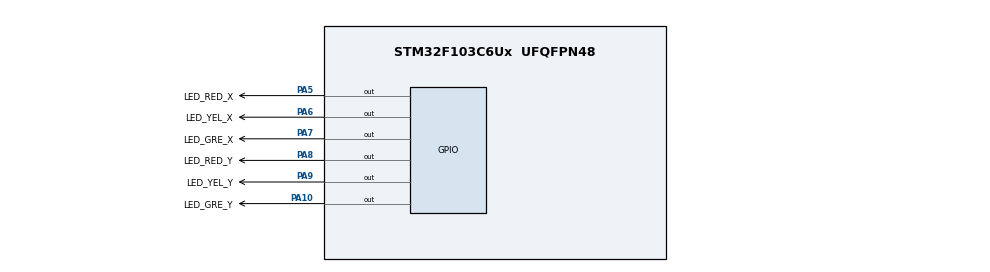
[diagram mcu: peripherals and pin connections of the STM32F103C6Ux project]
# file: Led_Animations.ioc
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Mcu.Family=STM32F1
Mcu.Name=STM32F103C6Ux
Mcu.Package=UFQFPN48
NVIC.PriorityGroup=NVIC_PRIORITYGROUP_4
PA10.GPIO_Label=LED_GRE_Y
PA10.Signal=GPIO_Output
PA5.GPIO_Label=LED_RED_X
PA5.Signal=GPIO_Output
PA6.GPIO_Label=LED_YEL_X
PA6.Signal=GPIO_Output
PA7.GPIO_Label=LED_GRE_X
PA7.Signal=GPIO_Output
PA8.GPIO_Label=LED_RED_Y
PA8.Signal=GPIO_Output
PA9.GPIO_Label=LED_YEL_Y
PA9.Signal=GPIO_Output
ProjectManager.HeapSize=0x200
ProjectManager.StackSize=0x400
ProjectManager.TargetToolchain=STM32CubeIDE
RCC.APB1Freq_Value=8000000
RCC.APB2Freq_Value=8000000
VP_SYS_VS_ND.Mode=No_Debug
board=custom

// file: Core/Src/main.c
/* USER CODE BEGIN Header */
/**
  ******************************************************************************
  * @file           : main.c
  * @brief          : Main program body
  ******************************************************************************
  * @attention
  *
  * <h2><center>&copy; Copyright (c) 2025 STMicroelectronics.
  * All rights reserved.</center></h2>
  *
  * This software component is licensed by ST under BSD 3-Clause license,
  * the "License"; You may not use this file except in compliance with the
  * License. You may obtain a copy of the License at:
  *                        opensource.org/licenses/BSD-3-Clause
  *
  ******************************************************************************
  */
/* USER CODE END Header */
#include "main.h"

void SystemClock_Config(void);
static void MX_GPIO_Init(void);

int main(void)
{

  /* MCU Configuration--------------------------------------------------------*/

  /* Reset of all peripherals, Initializes the Flash interface and the Systick. */
  HAL_Init();

  /* Configure the system clock */
  SystemClock_Config();

  /* Initialize all configured peripherals */
  MX_GPIO_Init();

  /* Infinite loop */
  /* USER CODE BEGIN WHILE */

  /* TR 	 10 9  8  7  6  5  4  3  2  1  0  10
   * X_axis: R  R  R  R  R  G  G  G  Y  Y  R  ...
   * Y_axis: G  G  G  Y  Y  R  R  R  R  R  G  ...
   */
  int TIME_REMAINING = 10;
  while (1)
  {
	  if (TIME_REMAINING > 7)
	  {
		  // Y axis
		  HAL_GPIO_WritePin(LED_RED_Y_GPIO_Port, LED_RED_Y_Pin, RESET);
		  HAL_GPIO_WritePin(LED_YEL_Y_GPIO_Port, LED_YEL_Y_Pin, RESET);
		  HAL_GPIO_WritePin(LED_GRE_Y_GPIO_Port, LED_GRE_Y_Pin, SET);
		  // X axis
		  HAL_GPIO_WritePin(LED_RED_X_GPIO_Port, LED_RED_X_Pin, SET);
		  HAL_GPIO_WritePin(LED_YEL_X_GPIO_Port, LED_YEL_X_Pin, RESET);
		  HAL_GPIO_WritePin(LED_GRE_X_GPIO_Port, LED_GRE_X_Pin, RESET);
	  }
	  else if (TIME_REMAINING <= 7 && TIME_REMAINING > 5)
	  {
		  HAL_GPIO_WritePin(LED_RED_Y_GPIO_Port, LED_RED_Y_Pin, RESET);
		  HAL_GPIO_WritePin(LED_YEL_Y_GPIO_Port, LED_YEL_Y_Pin, SET);
		  HAL_GPIO_WritePin(LED_GRE_Y_GPIO_Port, LED_GRE_Y_Pin, RESET);
	  }
	  else if (TIME_REMAINING <= 5 && TIME_REMAINING > 2)
	  {
		  HAL_GPIO_WritePin(LED_RED_X_GPIO_Port, LED_RED_X_Pin, RESET);
		  HAL_GPIO_WritePin(LED_YEL_X_GPIO_Port, LED_YEL_X_Pin, RESET);
		  HAL_GPIO_WritePin(LED_GRE_X_GPIO_Port, LED_GRE_X_Pin, SET);
		  HAL_GPIO_WritePin(LED_RED_Y_GPIO_Port, LED_RED_Y_Pin, SET);
		  HAL_GPIO_WritePin(LED_YEL_Y_GPIO_Port, LED_YEL_Y_Pin, RESET);
		  HAL_GPIO_WritePin(LED_GRE_Y_GPIO_Port, LED_GRE_Y_Pin, RESET);
	  }
	  else
	  {
		  HAL_GPIO_WritePin(LED_RED_X_GPIO_Port, LED_RED_X_Pin, RESET);
		  HAL_GPIO_WritePin(LED_YEL_X_GPIO_Port, LED_YEL_X_Pin, SET);
		  HAL_GPIO_WritePin(LED_GRE_X_GPIO_Port, LED_GRE_X_Pin, RESET);
	  }
	  TIME_REMAINING--;
	  if (TIME_REMAINING <= 0) TIME_REMAINING = 10;
	  HAL_Delay(1000);
    /* USER CODE END WHILE */

  }
}

void SystemClock_Config(void)
{
  RCC_OscInitTypeDef RCC_OscInitStruct = {0};
  RCC_ClkInitTypeDef RCC_ClkInitStruct = {0};

  /** Initializes the RCC Oscillators according to the specified parameters
  * in the RCC_OscInitTypeDef structure.
  */
  RCC_OscInitStruct.OscillatorType = RCC_OSCILLATORTYPE_HSI;
  RCC_OscInitStruct.HSIState = RCC_HSI_ON;
  RCC_OscInitStruct.HSICalibrationValue = RCC_HSICALIBRATION_DEFAULT;
  RCC_OscInitStruct.PLL.PLLState = RCC_PLL_NONE;
  if (HAL_RCC_OscConfig(&RCC_OscInitStruct) != HAL_OK)
  {
    Error_Handler();
  }
  /** Initializes the CPU, AHB and APB buses clocks
  */
  RCC_ClkInitStruct.ClockType = RCC_CLOCKTYPE_HCLK|RCC_CLOCKTYPE_SYSCLK
                              |RCC_CLOCKTYPE_PCLK1|RCC_CLOCKTYPE_PCLK2;
  RCC_ClkInitStruct.SYSCLKSource = RCC_SYSCLKSOURCE_HSI;
  RCC_ClkInitStruct.AHBCLKDivider = RCC_SYSCLK_DIV1;
  RCC_ClkInitStruct.APB1CLKDivider = RCC_HCLK_DIV1;
  RCC_ClkInitStruct.APB2CLKDivider = RCC_HCLK_DIV1;

  if (HAL_RCC_ClockConfig(&RCC_ClkInitStruct, FLASH_LATENCY_0) != HAL_OK)
  {
    Error_Handler();
  }
}

static void MX_GPIO_Init(void)
{
  GPIO_InitTypeDef GPIO_InitStruct = {0};

  /* GPIO Ports Clock Enable */
  __HAL_RCC_GPIOA_CLK_ENABLE();

  /*Configure GPIO pin Output Level */
  HAL_GPIO_WritePin(GPIOA, LED_RED_X_Pin|LED_YEL_X_Pin|LED_GRE_X_Pin|LED_RED_Y_Pin
                          |LED_YEL_Y_Pin|LED_GRE_Y_Pin, GPIO_PIN_RESET);

  /*Configure GPIO pins : LED_RED_X_Pin LED_YEL_X_Pin LED_GRE_X_Pin LED_RED_Y_Pin
                           LED_YEL_Y_Pin LED_GRE_Y_Pin */
  GPIO_InitStruct.Pin = LED_RED_X_Pin|LED_YEL_X_Pin|LED_GRE_X_Pin|LED_RED_Y_Pin
                          |LED_YEL_Y_Pin|LED_GRE_Y_Pin;
  GPIO_InitStruct.Mode = GPIO_MODE_OUTPUT_PP;
  GPIO_InitStruct.Pull = GPIO_NOPULL;
  GPIO_InitStruct.Speed = GPIO_SPEED_FREQ_LOW;
  HAL_GPIO_Init(GPIOA, &GPIO_InitStruct);

}

void Error_Handler(void)
{
  __disable_irq();
  while (1)
  {
  }
}

/************************ (C) COPYRIGHT STMicroelectronics *****END OF FILE****/
